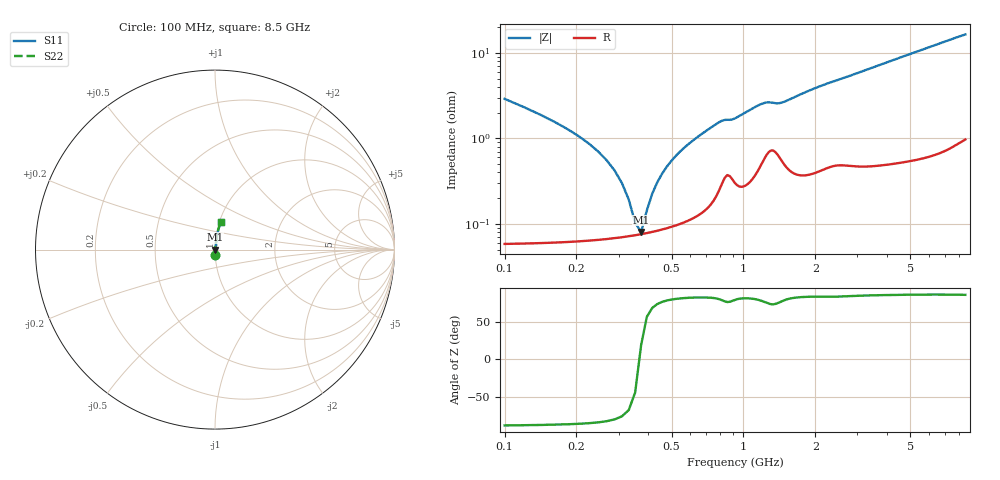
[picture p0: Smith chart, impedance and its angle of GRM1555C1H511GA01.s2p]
!Murata Part Number: GRM1555C1H511GA01
!These Parameters are Measured in Series Mode Connection
!Data Generated on Mar 30, 2021
!  o--ll--o
!Port1  Port2
!  o------o
!Operation Temp=25[degC], DC Bias Voltage=0[V]
!Freq. Start=100[MHz] Stop=9[GHz] 401[Steps]
# Hz S RI R 50
!Freq.(Hz) S11(Real) S11(Imag) S21(Real) S21(Imag) S12(Real) S12(Imag) S22(Real) S22(Imag)
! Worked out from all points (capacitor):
!   401 points, 100 MHz to 8.5 GHz, reference 50 ohm
!   read as one part in series: C = 510 pF near 142 MHz
!   lowest |Z| = 80 mohm at 373 MHz (marker M1)
!   series resonance near 367.4 MHz, so ESL is about 370 pH
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1e8  0.00141 -0.0288  0.9986 0.0288  0.9986 0.0288  0.00141 -0.0288
1.42e8  0.000943 -0.0187  0.9991 0.0187  0.9991 0.0187  0.000943 -0.0187
2.47e8  0.000696 -0.00693  0.9993 0.00693  0.9993 0.00693  0.000696 -0.00693
2.89e8  0.000695 -0.00412  0.9993 0.00412  0.9993 0.00412  0.000695 -0.00412
3.31e8  0.000717 -0.00178  0.9993 0.00178  0.9993 0.00178  0.000717 -0.00178
3.52e8  0.000734 -0.000726  0.9993 0.000726  0.9993 0.000726  0.000734 -0.000726
3.73e8  0.000755 0.000263  0.9992 -0.000263  0.9992 -0.000263  0.000755 0.000263
3.94e8  0.000779 0.0012  0.9992 -0.0012  0.9992 -0.0012  0.000779 0.0012
4.57e8  0.00087 0.00377  0.9991 -0.00377  0.9991 -0.00377  0.00087 0.00377
5.2e8  0.00099 0.0061  0.999 -0.0061  0.999 -0.0061  0.00099 0.0061
6.04e8  0.00121 0.00898  0.9988 -0.00898  0.9988 -0.00898  0.00121 0.00898
7.3e8  0.00185 0.0132  0.9982 -0.0132  0.9982 -0.0132  0.00185 0.0132
8.14e8  0.0032 0.0157  0.9968 -0.0157  0.9968 -0.0157  0.0032 0.0157
9.19e8  0.00329 0.0167  0.9967 -0.0167  0.9967 -0.0167  0.00329 0.0167
1.192e9  0.0056 0.0245  0.9944 -0.0245  0.9944 -0.0245  0.0056 0.0245
1.507e9  0.00534 0.0266  0.9947 -0.0266  0.9947 -0.0266  0.00534 0.0266
2.074e9  0.00566 0.0397  0.9943 -0.0397  0.9943 -0.0397  0.00566 0.0397
2.914e9  0.00777 0.0553  0.9922 -0.0553  0.9922 -0.0553  0.00777 0.0553
4.3e9  0.0118 0.0819  0.9882 -0.0819  0.9882 -0.0819  0.0118 0.0819
5.707e9  0.0177 0.1081  0.9823 -0.1081  0.9823 -0.1081  0.0177 0.1081
7.114e9  0.0255 0.1335  0.9745 -0.1335  0.9745 -0.1335  0.0255 0.1335
8.5e9  0.0349 0.1563  0.9651 -0.1563  0.9651 -0.1563  0.0349 0.1563
